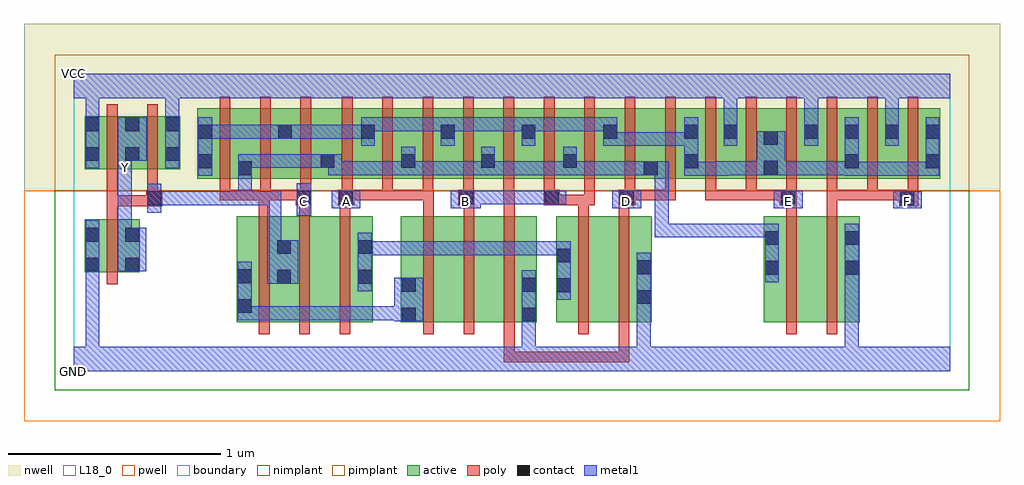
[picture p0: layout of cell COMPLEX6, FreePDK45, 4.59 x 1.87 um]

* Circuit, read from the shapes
.subckt COMPLEX6 A B C D E F GND VCC Y
M1 Y n1 GND VSUBS nfet w=0.25u l=0.05u
M2 n1 C n2 VSUBS nfet w=0.5u l=0.05u
M3 n3 C n1 VSUBS nfet w=0.5u l=0.05u
M4 n4 A n3 VSUBS nfet w=0.5u l=0.05u
M5 n5 A n2 VSUBS nfet w=0.5u l=0.05u
M6 n6 B n5 VSUBS nfet w=0.5u l=0.05u
M7 GND D n6 VSUBS nfet w=0.5u l=0.05u
M8 n7 B n4 VSUBS nfet w=0.5u l=0.05u
M9 GND D n7 VSUBS nfet w=0.5u l=0.05u
M10 n8 E n1 VSUBS nfet w=0.5u l=0.05u
M11 GND F n8 VSUBS nfet w=0.5u l=0.05u
M12 Y n1 VCC n9 pfet w=0.25u l=0.05u m=2
M13 n1 C n10 n9 pfet w=0.332u l=0.05u m=3
M14 n10 A n1 n9 pfet w=0.332u l=0.05u m=3
M15 n1 B n10 n9 pfet w=0.332u l=0.05u m=3
M16 n10 D n1 n9 pfet w=0.332u l=0.05u m=3
M17 VCC E n10 n9 pfet w=0.332u l=0.05u m=3
M18 n10 F VCC n9 pfet w=0.332u l=0.05u m=3
.ends

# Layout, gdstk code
import gdstk
lib = gdstk.Library(unit=1e-6, precision=1e-09)
def R(c, l, rs):  # rectangles x0, y0, x1, y1
    for r in rs: c.add(gdstk.rectangle(r[:2], r[2:], *l))
def A(c, l, x, y, w, h, nx, ny, dx, dy):  # array of equal rectangles
    R(c, l, [(x+i*dx, y+j*dy, x+i*dx+w, y+j*dy+h) for i in range(nx) for j in range(ny)])
active = (1, 0)
pwell = (2, 0)
nwell = (3, 0)
nimplant = (4, 0)
pimplant = (5, 0)
poly = (9, 0)
contact = (10, 0)
metal1 = (11, 0)
L18_0 = (18, 0)
boundary = (235, 0)

complex6 = lib.new_cell('COMPLEX6')
A(complex6, active, 2.295, 0.905, 0.265, 0.332, 3, 1, 0.19, 0)
A(complex6, active, 3.05, 0.905, 0.265, 0.332, 5, 1, 0.19, 0)
A(complex6, active, 3.05, 0.905, 0.075, 0.332, 3, 1, 0.38, 0)
A(complex6, active, 3.24, 0.905, 0.075, 0.295, 3, 1, 0.38, 0)
R(complex6, active, [(0.765,0.23,0.84,0.73), (0.765,0.23,1.025,0.73), (0.95,0.23,1.18,0.73), (1.18,0.23,1.405,0.73), (1.537,0.23,1.612,0.73), (1.537,0.23,1.762,0.73), (1.762,0.23,1.952,0.73), (1.952,0.23,2.177,0.73), (2.102,0.23,2.177,0.637), (2.267,0.23,2.342,0.73), (2.267,0.23,2.492,0.73), (2.492,0.23,2.717,0.73), (2.642,0.23,2.717,0.73), (3.245,0.23,3.32,0.73), (3.245,0.23,3.47,0.73), (3.47,0.23,3.695,0.73), (3.62,0.23,3.695,0.73), (0.95,0.295,1.025,0.73), (1.33,0.295,1.405,0.73), (0.05,0.465,0.125,0.715), (0.05,0.465,0.31,0.715), (0.235,0.465,0.31,0.715), (0.58,0.905,0.655,1.2), (0.58,0.905,0.842,1.237), (0.767,0.905,0.842,1.07), (0.767,0.905,1.03,1.237), (0.955,0.905,1.03,1.2), (0.955,0.905,1.23,1.237), (1.155,0.905,1.42,1.237), (1.155,0.905,1.23,1.07), (1.345,0.905,1.61,1.237), (1.535,0.905,1.795,1.237), (1.535,0.905,1.61,1.07), (1.72,0.905,1.795,1.2), (1.72,0.905,1.985,1.237), (1.91,0.905,2.175,1.237), (1.91,0.905,1.985,1.07), (2.1,0.905,2.175,1.2), (2.1,0.905,2.37,1.237), (2.295,0.905,2.37,1.07), (2.675,0.905,2.75,1.07), (2.865,0.905,2.94,1.2), (2.865,0.905,3.125,1.237), (2.485,0.947,2.56,1.2), (0.05,0.95,0.125,1.2), (0.05,0.95,0.312,1.2), (0.237,0.95,0.5,1.2), (0.425,0.95,0.5,1.2), (1.345,0.975,1.42,1.2), (0.237,0.985,0.312,1.2)])
R(complex6, pwell, [(-0.235,-0.235,4.355,0.85)])
R(complex6, nwell, [(-0.235,0.85,4.355,1.635)])
R(complex6, nimplant, [(-0.09,-0.09,4.21,0.85)])
R(complex6, pimplant, [(-0.09,0.85,4.21,1.49)])
A(complex6, poly, 0.87, 0.175, 0.05, 0.61, 3, 1, 0.19, 0)
A(complex6, poly, 1.642, 0.175, 0.05, 0.61, 3, 1, 0.19, 0)
A(complex6, poly, 0.685, 0.805, 0.05, 0.095, 3, 1, 0.19, 0)
A(complex6, poly, 1.26, 0.805, 0.05, 0.095, 6, 1, 0.19, 0)
A(complex6, poly, 2.59, 0.805, 0.05, 0.095, 8, 1, 0.19, 0)
A(complex6, poly, 2.78, 0.805, 0.05, 0.05, 3, 1, 0.19, 0)
A(complex6, poly, 0.685, 0.85, 0.05, 0.442, 3, 1, 0.19, 0)
A(complex6, poly, 1.26, 0.85, 0.05, 0.442, 15, 1, 0.19, 0)
R(complex6, poly, [(2.022,0.042,2.072,0.092), (2.022,0.042,2.072,0.092), (2.022,0.042,2.072,0.092), (2.022,0.042,2.072,0.225), (2.022,0.042,2.205,0.092), (2.155,0.042,2.205,0.092), (2.155,0.042,2.205,0.092), (2.155,0.042,2.205,0.092), (2.155,0.042,2.48,0.092), (2.43,0.042,2.48,0.092), (2.43,0.042,2.48,0.092), (2.43,0.042,2.48,0.092), (2.43,0.042,2.612,0.092), (2.562,0.042,2.612,0.092), (2.562,0.042,2.612,0.225), (2.372,0.175,2.422,0.785), (2.562,0.175,2.612,0.785), (3.35,0.175,3.4,0.785), (3.54,0.175,3.59,0.785), (0.155,0.41,0.205,0.77), (0.155,0.72,0.205,0.827), (0.87,0.735,0.92,0.855), (1.06,0.735,1.11,0.83), (1.25,0.735,1.3,0.83), (1.642,0.735,1.692,0.855), (1.832,0.735,1.882,0.83), (2.022,0.735,2.072,0.855), (2.372,0.735,2.422,0.83), (2.562,0.735,2.612,0.83), (3.35,0.735,3.4,0.83), (3.54,0.735,3.59,0.855), (0.155,0.777,0.205,0.827), (0.155,0.777,0.39,0.827), (0.155,0.777,0.205,0.945), (0.34,0.777,0.39,0.827), (0.34,0.777,0.39,0.827), (0.34,0.777,0.415,0.852), (3.882,0.777,3.97,0.855), (1.042,0.78,1.117,0.855), (1.242,0.78,1.317,0.855), (1.807,0.78,1.882,0.855), (2.21,0.78,2.285,0.855), (2.235,0.78,2.285,0.83), (2.235,0.78,2.285,0.83), (2.235,0.78,2.422,0.83), (2.372,0.78,2.45,0.83), (2.4,0.78,2.45,0.9), (2.562,0.78,2.64,0.855), (3.32,0.78,3.4,0.855), (0.345,0.802,0.395,0.945), (0.685,0.805,0.735,0.855), (0.685,0.805,0.735,0.855), (0.685,0.805,0.735,0.855), (0.685,0.805,0.92,0.855), (0.87,0.805,0.925,0.855), (0.875,0.805,1.092,0.855), (1.042,0.805,1.092,0.855), (1.042,0.805,1.092,0.855), (1.267,0.805,1.317,0.855), (1.267,0.805,1.317,0.855), (1.267,0.805,1.5,0.855), (1.45,0.805,1.5,0.855), (1.45,0.805,1.69,0.855), (1.64,0.805,1.69,0.855), (1.64,0.805,1.69,0.855), (1.64,0.805,1.692,0.855), (2.02,0.805,2.072,0.855), (2.59,0.805,2.83,0.855), (2.78,0.805,2.83,0.855), (2.78,0.805,2.83,0.855), (2.97,0.805,3.21,0.855), (3.16,0.805,3.21,0.855), (3.16,0.805,3.21,0.855), (3.16,0.805,3.37,0.855), (3.32,0.805,3.37,0.855), (3.32,0.805,3.37,0.855), (3.54,0.805,3.59,0.855), (3.54,0.805,3.78,0.855), (3.73,0.805,3.78,0.855), (3.73,0.805,3.78,0.855), (3.73,0.805,3.78,0.855), (3.73,0.805,3.932,0.855), (3.882,0.805,3.932,0.855), (3.882,0.805,3.932,0.855), (0.155,0.895,0.205,1.255), (0.345,0.895,0.395,1.255)])
A(complex6, contact, 3.435, 1.095, 0.065, 0.065, 4, 1, 0.19, 0)
R(complex6, contact, [(1.542,0.235,1.607,0.3), (2.107,0.235,2.172,0.3), (0.77,0.275,0.835,0.34), (2.647,0.317,2.712,0.382), (2.272,0.372,2.337,0.437), (1.542,0.375,1.607,0.44), (2.107,0.375,2.172,0.44), (0.955,0.412,1.02,0.477), (1.335,0.412,1.4,0.477), (0.77,0.415,0.835,0.48), (3.25,0.455,3.315,0.52), (3.625,0.455,3.69,0.52), (2.647,0.457,2.712,0.522), (0.055,0.47,0.12,0.535), (0.24,0.47,0.305,0.535), (2.272,0.512,2.337,0.577), (0.955,0.552,1.02,0.617), (1.335,0.552,1.4,0.617), (3.25,0.595,3.315,0.66), (3.625,0.595,3.69,0.66), (0.055,0.61,0.12,0.675), (0.24,0.61,0.305,0.675), (0.345,0.782,0.41,0.847), (3.887,0.782,3.952,0.847), (1.047,0.785,1.112,0.85), (1.247,0.785,1.312,0.85), (1.812,0.785,1.877,0.85), (2.215,0.785,2.28,0.85), (2.567,0.785,2.632,0.85), (3.327,0.785,3.392,0.85), (0.772,0.922,0.837,0.987), (2.68,0.922,2.745,0.987), (3.245,0.925,3.31,0.99), (0.585,0.955,0.65,1.02), (2.87,0.955,2.935,1.02), (3.625,0.955,3.69,1.02), (4.005,0.955,4.07,1.02), (1.16,0.957,1.225,1.022), (1.54,0.957,1.605,1.022), (1.915,0.957,1.98,1.022), (2.3,0.957,2.365,1.022), (0.055,0.99,0.12,1.055), (0.242,0.99,0.307,1.055), (0.43,0.99,0.495,1.055), (3.245,1.065,3.31,1.13), (0.585,1.095,0.65,1.16), (0.96,1.095,1.025,1.16), (1.35,1.095,1.415,1.16), (1.725,1.095,1.79,1.16), (2.105,1.095,2.17,1.16), (2.49,1.095,2.555,1.16), (2.87,1.095,2.935,1.16), (3.055,1.095,3.12,1.16), (0.055,1.13,0.12,1.195), (0.242,1.13,0.307,1.195), (0.43,1.13,0.495,1.195)])
A(complex6, metal1, 3.055, 1.06, 0.065, 0.135, 3, 1, 0.38, 0)
A(complex6, metal1, 3.055, 1.13, 0.065, 0.22, 3, 1, 0.38, 0)
R(complex6, metal1, [(0,0,4.12,0.115), (0.055,0.05,0.12,0.115), (0.055,0.05,0.12,0.115), (0.055,0.05,0.12,0.115), (0.055,0.05,0.12,0.115), (0.055,0.05,0.12,0.115), (0.055,0.05,0.12,0.115), (0.055,0.05,0.12,0.115), (0.055,0.05,0.12,0.115), (0.055,0.05,0.12,0.5), (2.107,0.05,2.172,0.115), (2.107,0.05,2.172,0.115), (2.107,0.05,2.172,0.115), (2.107,0.05,2.172,0.115), (2.107,0.05,2.172,0.265), (2.647,0.05,2.712,0.115), (2.647,0.05,2.712,0.115), (2.647,0.05,2.712,0.115), (2.647,0.05,2.712,0.115), (2.647,0.05,2.712,0.347), (3.625,0.05,3.69,0.115), (3.625,0.05,3.69,0.115), (3.625,0.05,3.69,0.115), (3.625,0.05,3.69,0.115), (3.625,0.05,3.69,0.485), (2.107,0.2,2.172,0.475), (1.507,0.235,1.642,0.44), (0.77,0.24,0.835,0.515), (0.77,0.24,0.835,0.305), (0.77,0.24,0.835,0.305), (0.77,0.24,0.975,0.305), (0.91,0.24,0.975,0.305), (0.91,0.24,0.975,0.305), (0.91,0.24,0.975,0.305), (0.91,0.24,1.197,0.305), (1.132,0.24,1.197,0.305), (1.132,0.24,1.197,0.305), (1.132,0.24,1.197,0.305), (1.132,0.24,1.435,0.305), (1.37,0.24,1.435,0.305), (1.37,0.24,1.435,0.305), (1.37,0.24,1.435,0.305), (1.37,0.24,1.572,0.305), (2.647,0.282,2.712,0.557), (2.272,0.337,2.337,0.612), (1.335,0.377,1.4,0.652), (0.91,0.412,1.055,0.617), (3.25,0.42,3.315,0.695), (3.625,0.42,3.69,0.695), (0.055,0.435,0.12,0.71), (0.205,0.47,0.34,0.675), (1.335,0.547,1.4,0.612), (1.335,0.547,1.4,0.612), (1.335,0.547,1.652,0.612), (1.587,0.547,1.79,0.612), (1.587,0.547,1.652,0.612), (1.587,0.547,1.652,0.612), (1.587,0.547,1.652,0.612), (1.725,0.547,1.79,0.612), (1.725,0.547,1.79,0.612), (1.725,0.547,1.79,0.612), (1.725,0.547,1.987,0.612), (1.922,0.547,1.987,0.612), (1.922,0.547,2.05,0.612), (1.985,0.547,2.05,0.612), (1.985,0.547,2.125,0.612), (2.06,0.547,2.125,0.612), (2.06,0.547,2.187,0.612), (2.122,0.547,2.187,0.612), (2.122,0.547,2.337,0.612), (0.91,0.552,0.975,0.847), (0.207,0.61,0.272,0.957), (2.732,0.63,2.797,0.695), (2.732,0.63,2.805,0.695), (2.732,0.63,2.797,0.987), (2.74,0.63,2.805,0.695), (2.74,0.63,2.942,0.695), (2.877,0.63,3.08,0.695), (2.877,0.63,2.942,0.695), (2.877,0.63,2.942,0.695), (2.877,0.63,2.942,0.695), (3.015,0.63,3.08,0.695), (3.015,0.63,3.08,0.695), (3.015,0.63,3.08,0.695), (3.015,0.63,3.08,0.695), (3.015,0.63,3.08,0.695), (3.015,0.63,3.315,0.695), (1.047,0.732,1.115,0.885), (0.345,0.747,0.41,0.882), (1.212,0.767,1.347,0.85), (1.772,0.767,1.912,0.85), (2.532,0.767,2.667,0.85), (3.292,0.767,3.427,0.85), (3.852,0.767,3.987,0.847), (0.345,0.782,0.41,0.847), (0.345,0.782,0.41,0.847), (0.345,0.782,0.697,0.847), (0.632,0.782,0.697,0.847), (0.632,0.782,0.697,0.847), (0.632,0.782,0.697,0.847), (0.632,0.782,0.837,0.847), (0.772,0.782,0.975,0.847), (0.772,0.782,0.837,0.847), (0.772,0.782,0.837,0.847), (0.772,0.782,0.837,0.847), (0.772,0.782,0.837,0.952), (0.91,0.782,0.975,0.847), (1.847,0.785,1.927,0.85), (1.862,0.785,1.927,0.85), (1.862,0.785,2.05,0.85), (1.985,0.785,2.05,0.85), (1.985,0.785,2.125,0.85), (2.06,0.785,2.125,0.85), (2.06,0.785,2.245,0.85), (2.18,0.785,2.315,0.85), (0.772,0.887,0.837,1.022), (0.207,0.892,0.272,1.027), (0.585,0.92,0.65,1.195), (2.87,0.92,2.935,1.195), (2.87,0.92,2.935,0.985), (2.87,0.92,2.942,0.985), (2.877,0.92,3.08,0.985), (2.877,0.92,2.942,0.985), (2.877,0.92,2.942,0.985), (3.015,0.92,3.08,0.985), (3.015,0.92,3.08,0.985), (3.015,0.92,3.08,0.987), (3.625,0.92,3.69,1.195), (3.625,0.92,3.69,0.985), (3.625,0.92,3.69,0.985), (3.625,0.92,3.932,0.985), (3.867,0.92,4.07,0.985), (3.867,0.92,3.932,0.985), (3.867,0.92,3.932,0.985), (3.867,0.92,3.932,0.985), (4.005,0.92,4.07,1.195), (1.195,0.922,1.397,0.987), (1.195,0.922,1.26,1.022), (1.332,0.922,1.397,0.987), (1.332,0.922,1.397,0.987), (1.332,0.922,1.397,0.987), (1.332,0.922,1.605,0.987), (1.54,0.922,1.605,0.987), (1.54,0.922,1.605,0.987), (1.54,0.922,1.605,1.057), (1.54,0.922,1.79,0.987), (1.725,0.922,1.79,0.987), (1.725,0.922,1.79,0.987), (1.725,0.922,1.79,0.987), (1.725,0.922,1.98,0.987), (1.915,0.922,1.98,1.057), (1.915,0.922,2.05,0.987), (1.985,0.922,2.05,0.987), (1.985,0.922,2.125,0.987), (2.06,0.922,2.125,0.987), (2.06,0.922,2.227,0.987), (2.162,0.922,2.365,0.987), (2.162,0.922,2.227,0.987), (2.3,0.922,2.365,0.987), (2.3,0.922,2.365,0.987), (2.3,0.922,2.365,1.057), (2.3,0.922,2.572,0.987), (2.507,0.922,2.71,0.987), (2.507,0.922,2.572,0.987), (2.507,0.922,2.572,0.987), (2.507,0.922,2.572,0.987), (2.645,0.922,2.797,0.987), (3.015,0.922,3.275,0.987), (3.21,0.922,3.345,1.13), (3.28,0.922,3.345,0.987), (3.28,0.922,3.345,0.987), (3.28,0.922,3.552,0.987), (3.487,0.922,3.69,0.987), (3.487,0.922,3.552,0.987), (3.487,0.922,3.552,0.987), (3.487,0.922,3.552,0.987), (0.055,0.955,0.12,1.23), (0.43,0.955,0.495,1.23), (0.772,0.957,0.975,1.022), (0.772,0.957,0.837,1.022), (0.772,0.957,0.837,1.022), (0.91,0.957,0.975,1.022), (0.91,0.957,0.975,1.022), (0.91,0.957,0.975,1.022), (0.91,0.957,1.19,1.022), (1.125,0.957,1.26,1.022), (1.195,0.957,1.26,1.022), (0.207,0.962,0.272,1.055), (0.207,0.99,0.342,1.195), (1.35,1.06,1.415,1.195), (1.725,1.06,1.79,1.195), (2.105,1.06,2.17,1.195), (2.49,1.06,2.555,1.125), (2.49,1.06,2.555,1.125), (2.49,1.06,2.555,1.195), (2.49,1.06,2.797,1.125), (2.732,1.06,2.797,1.125), (2.732,1.06,2.805,1.125), (2.74,1.06,2.805,1.125), (2.74,1.06,2.935,1.125), (0.585,1.095,0.65,1.16), (0.585,1.095,0.65,1.16), (0.585,1.095,0.837,1.16), (0.772,1.095,0.837,1.16), (0.772,1.095,0.837,1.16), (0.772,1.095,0.837,1.16), (0.772,1.095,0.99,1.16), (0.925,1.095,1.06,1.16), (0.995,1.095,1.06,1.16), (0.995,1.095,1.06,1.16), (0.995,1.095,1.197,1.16), (1.132,1.095,1.197,1.16), (1.132,1.095,1.197,1.16), (1.132,1.095,1.197,1.16), (1.132,1.095,1.415,1.16), (1.35,1.13,1.415,1.195), (1.35,1.13,1.415,1.195), (1.35,1.13,1.652,1.195), (1.587,1.13,1.79,1.195), (1.587,1.13,1.652,1.195), (1.587,1.13,1.652,1.195), (1.587,1.13,1.652,1.195), (1.725,1.13,1.79,1.195), (1.725,1.13,1.79,1.195), (1.725,1.13,1.987,1.195), (1.922,1.13,1.987,1.195), (1.922,1.13,2.05,1.195), (1.985,1.13,2.05,1.195), (1.985,1.13,2.17,1.195), (2.105,1.13,2.187,1.195), (2.122,1.13,2.187,1.195), (2.122,1.13,2.417,1.195), (2.352,1.13,2.555,1.195), (2.352,1.13,2.417,1.195), (2.352,1.13,2.417,1.195), (2.352,1.13,2.417,1.195), (0.055,1.165,0.12,1.35), (0.43,1.165,0.495,1.35), (0,1.285,4.12,1.4), (0.055,1.285,0.12,1.35), (0.055,1.285,0.12,1.35), (0.43,1.285,0.495,1.35), (0.43,1.285,0.495,1.35)])
A(complex6, L18_0, 1.807, 0.767, 0.065, 0.065, 3, 1, 0.76, 0)
A(complex6, L18_0, 3.055, 1.06, 0.065, 0.135, 3, 1, 0.38, 0)
A(complex6, L18_0, 3.055, 1.13, 0.065, 0.22, 3, 1, 0.38, 0)
R(complex6, L18_0, [(0,0,4.12,0.115), (0.055,0.05,0.12,0.115), (0.055,0.05,0.12,0.115), (0.055,0.05,0.12,0.115), (0.055,0.05,0.12,0.115), (0.055,0.05,0.12,0.115), (0.055,0.05,0.12,0.115), (0.055,0.05,0.12,0.115), (0.055,0.05,0.12,0.115), (0.055,0.05,0.12,0.5), (2.107,0.05,2.172,0.115), (2.107,0.05,2.172,0.115), (2.107,0.05,2.172,0.115), (2.107,0.05,2.172,0.115), (2.107,0.05,2.172,0.265), (2.647,0.05,2.712,0.115), (2.647,0.05,2.712,0.115), (2.647,0.05,2.712,0.115), (2.647,0.05,2.712,0.115), (2.647,0.05,2.712,0.347), (3.625,0.05,3.69,0.115), (3.625,0.05,3.69,0.115), (3.625,0.05,3.69,0.115), (3.625,0.05,3.69,0.115), (3.625,0.05,3.69,0.485), (2.107,0.2,2.172,0.475), (2.647,0.282,2.712,0.557), (3.625,0.42,3.69,0.695), (0.055,0.435,0.12,0.71), (0.205,0.47,0.34,0.675), (0.207,0.61,0.272,0.957), (1.047,0.732,1.115,0.885), (1.047,0.767,1.112,0.832), (1.212,0.767,1.347,0.85), (1.247,0.767,1.312,0.832), (1.772,0.767,1.912,0.85), (2.532,0.767,2.667,0.85), (3.292,0.767,3.427,0.85), (3.852,0.767,3.987,0.847), (3.887,0.767,3.952,0.832), (1.847,0.785,1.927,0.85), (1.862,0.785,1.927,0.85), (1.862,0.785,2.05,0.85), (1.985,0.785,2.05,0.85), (1.985,0.785,2.125,0.85), (2.06,0.785,2.125,0.85), (2.06,0.785,2.245,0.85), (2.18,0.785,2.315,0.85), (0.207,0.892,0.272,1.027), (0.207,0.927,0.272,0.992), (0.055,0.955,0.12,1.23), (0.43,0.955,0.495,1.23), (0.207,0.962,0.272,1.055), (0.207,0.99,0.342,1.195), (0.055,1.165,0.12,1.35), (0.43,1.165,0.495,1.35), (0,1.285,4.12,1.4), (0.055,1.285,0.12,1.35), (0.055,1.285,0.12,1.35), (0.43,1.285,0.495,1.35), (0.43,1.285,0.495,1.35)])
R(complex6, boundary, [(0,0,4.12,1.4)])
complex6.add(gdstk.Label('A', (1.28,0.8), layer=11, texttype=0))
complex6.add(gdstk.Label('B', (1.84,0.8), layer=11, texttype=0))
complex6.add(gdstk.Label('C', (1.08,0.8), layer=11, texttype=0))
complex6.add(gdstk.Label('D', (2.6,0.8), layer=11, texttype=0))
complex6.add(gdstk.Label('E', (3.36,0.8), layer=11, texttype=0))
complex6.add(gdstk.Label('F', (3.92,0.8), layer=11, texttype=0))
complex6.add(gdstk.Label('Y', (0.24,0.96), layer=11, texttype=0))
complex6.add(gdstk.Label('VCC', (0,1.4), layer=11, texttype=0))
complex6.add(gdstk.Label('GND', (0,0), layer=11, texttype=0))

lib.write_gds('COMPLEX6.gds')
